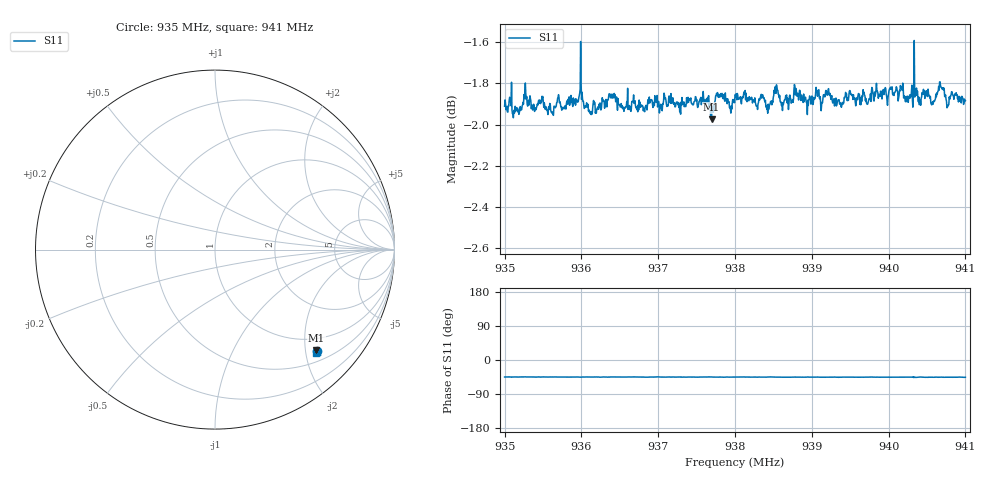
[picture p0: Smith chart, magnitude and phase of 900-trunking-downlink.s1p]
! Calibrated averaged scanner-service zoom
# Hz S RI R 50
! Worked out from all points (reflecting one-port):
!   1001 points, 935 MHz to 941 MHz, reference 50 ohm
!   lowest |S11| = -2.0 dB at 937.694 MHz (marker M1), VSWR 8.83, Z = 36.2 - j111 ohm
!   phase of S11 starts at -45 deg and turns -1 deg over the sweep
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9.35e8  0.5688 -0.566
9.3575e8  0.5685 -0.5643
9.3599e8  0.585 -0.5917
9.36086e8  0.5708 -0.5653
9.3641e8  0.5726 -0.57
9.365e8  0.5688 -0.5671
9.36686e8  0.573 -0.5636
9.3683e8  0.5642 -0.5702
9.3698e8  0.5723 -0.5652
9.3725e8  0.5691 -0.5684
9.37694e8  0.5652 -0.5613
9.37844e8  0.5656 -0.5741
9.38e8  0.5723 -0.5695
9.3836e8  0.5695 -0.5727
9.3845e8  0.571 -0.5647
9.38534e8  0.57 -0.5731
9.38618e8  0.5631 -0.569
9.3875e8  0.5679 -0.5711
9.395e8  0.5693 -0.5754
9.4025e8  0.565 -0.5748
9.40358e8  0.563 -0.5819
9.40412e8  0.5702 -0.5686
9.4049e8  0.5653 -0.5762
9.40568e8  0.5648 -0.5723
9.40682e8  0.5711 -0.5759
9.4076e8  0.5609 -0.573
9.40922e8  0.5684 -0.5697
9.41e8  0.5635 -0.5748
